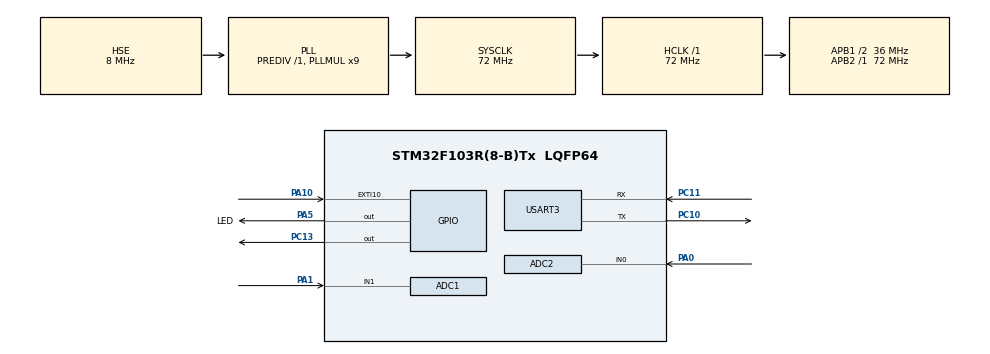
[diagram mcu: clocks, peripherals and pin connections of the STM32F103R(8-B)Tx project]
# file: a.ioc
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ADC1.Channel-1\#ChannelRegularConversion=ADC_CHANNEL_1
ADC1.NbrOfConversionFlag=1
ADC1.Rank-1\#ChannelRegularConversion=1
ADC1.SamplingTime-1\#ChannelRegularConversion=ADC_SAMPLETIME_1CYCLE_5
ADC1.master=1
ADC2.Channel-5\#ChannelRegularConversion=ADC_CHANNEL_0
ADC2.NbrOfConversionFlag=1
ADC2.Rank-5\#ChannelRegularConversion=1
ADC2.SamplingTime-5\#ChannelRegularConversion=ADC_SAMPLETIME_1CYCLE_5
Mcu.Family=STM32F1
Mcu.Name=STM32F103R(8-B)Tx
Mcu.Package=LQFP64
NVIC.EXTI15_10_IRQn=true\:0\:0\:false\:false\:true\:true\:true
NVIC.PriorityGroup=NVIC_PRIORITYGROUP_4
NVIC.RTC_Alarm_IRQn=true\:0\:0\:false\:false\:true\:true\:true
NVIC.USART3_IRQn=true\:0\:0\:false\:false\:true\:true\:true
PA0-WKUP.Signal=ADCx_IN0
PA1.Signal=ADCx_IN1
PA10.Signal=GPXTI10
PA13.Mode=Serial_Wire
PA13.Signal=SYS_JTMS-SWDIO
PA14.Mode=Serial_Wire
PA14.Signal=SYS_JTCK-SWCLK
PA5.GPIO_Label=LED
PA5.GPIO_ModeDefaultOutputPP=GPIO_MODE_OUTPUT_PP
PA5.GPIO_PuPd=GPIO_NOPULL
PA5.GPIO_Speed=GPIO_SPEED_FREQ_LOW
PA5.PinState=GPIO_PIN_RESET
PA5.Signal=GPIO_Output
PA5.Stacked=true
PC10.Mode=Asynchronous
PC10.Signal=USART3_TX
PC11.Mode=Asynchronous
PC11.Signal=USART3_RX
PC13-TAMPER-RTC.GPIO_ModeDefaultOutputPP=GPIO_MODE_OUTPUT_PP
PC13-TAMPER-RTC.GPIO_PuPd=GPIO_NOPULL
PC13-TAMPER-RTC.GPIO_Speed=GPIO_SPEED_FREQ_LOW
PC13-TAMPER-RTC.PinState=GPIO_PIN_RESET
PC13-TAMPER-RTC.Signal=GPIO_Output
PD0-OSC_IN.Mode=HSE-External-Oscillator
PD0-OSC_IN.Signal=RCC_OSC_IN
PD1-OSC_OUT.Mode=HSE-External-Oscillator
PD1-OSC_OUT.Signal=RCC_OSC_OUT
ProjectManager.HeapSize=0x200
ProjectManager.StackSize=0x400
ProjectManager.TargetToolchain=STM32CubeIDE
RCC.ADCPresc=RCC_ADCPCLK2_DIV6
RCC.AHBFreq_Value=72000000
RCC.APB1CLKDivider=RCC_HCLK_DIV2
RCC.APB1Freq_Value=36000000
RCC.APB1TimFreq_Value=72000000
RCC.APB2Freq_Value=72000000
RCC.APB2TimFreq_Value=72000000
RCC.HCLKFreq_Value=72000000
RCC.PLLMUL=RCC_PLL_MUL9
RCC.PLLSourceVirtual=RCC_PLLSOURCE_HSE
RCC.SYSCLKFreq_VALUE=72000000
RCC.SYSCLKSource=RCC_SYSCLKSOURCE_PLLCLK
RCC.USBFreq_Value=72000000
RTC.Date=16
RTC.Format=RTC_FORMAT_BCD
RTC.Hours=10
RTC.Minutes=20
RTC.Month=RTC_MONTH_NOVEMBER
RTC.Seconds=30
RTC.Year=20
SH.ADCx_IN0.0=ADC2_IN0,IN0
SH.ADCx_IN1.0=ADC1_IN1,IN1
TIM4.Period=0xffff-1
TIM4.Prescaler=50-1
USART3.VirtualMode=VM_ASYNC
VP_RTC_VS_RTC_Activate.Mode=RTC_Enabled
VP_RTC_VS_RTC_Calendar.Mode=RTC_Calendar
VP_TIM4_VS_ClockSourceITR.Mode=TriggerSource_ITR0
board=custom

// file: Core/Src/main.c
/* USER CODE BEGIN Header */
/**
  ******************************************************************************
  * @file           : main.c
  * @brief          : Main program body
  ******************************************************************************
  * @attention
  *
  * <h2><center>&copy; Copyright (c) 2020 STMicroelectronics.
  * All rights reserved.</center></h2>
  *
  * This software component is licensed by ST under BSD 3-Clause license,
  * the "License"; You may not use this file except in compliance with the
  * License. You may obtain a copy of the License at:
  *                        opensource.org/licenses/BSD-3-Clause
  *
  ******************************************************************************
  */
/* USER CODE END Header */
#include "main.h"

/* USER CODE BEGIN Includes */
//#include "ESP8266_HAL.h"
#include "ESP_DATA_HANDLER.h"
#include "stdint.h"
#include "stdio.h"

/* USER CODE END Includes */

ADC_HandleTypeDef hadc1;
ADC_HandleTypeDef hadc2;

RTC_HandleTypeDef hrtc;

TIM_HandleTypeDef htim4;

UART_HandleTypeDef huart3;

/* USER CODE BEGIN PV */
int check = 0;
int start = 0;
float temper;
char *temperatura[30];
float Lux = 0;
char time[10];
char date[10];
int Hours;
int Minutes;
int Seconds;
int Date;
int Month;
int Year;
int init_time=0;
extern int HoursAdd;
extern int MinutesAdd;
extern int SecondAdd;
extern int buzz;
extern uint8_t HoursAlarm;
extern uint8_t MinutesAlarm;
/* USER CODE END PV */

void SystemClock_Config(void);
static void MX_GPIO_Init(void);
static void MX_USART3_UART_Init(void);
static void MX_TIM4_Init(void);
static void MX_RTC_Init(void);
static void MX_ADC1_Init(void);
static void MX_ADC2_Init(void);

/* USER CODE BEGIN 0 */

void RTC_Alarm_Config(void)
{
	RTC_AlarmTypeDef rtcAlarmInit;

	/*## STEP 1: Configure RTC alarm #########################################*/
	/* Set Alarm to 00:00:05 */
	rtcAlarmInit.Alarm             = RTC_ALARM_A;
	rtcAlarmInit.AlarmTime.Hours   = HoursAlarm;
	rtcAlarmInit.AlarmTime.Minutes = MinutesAlarm;
	rtcAlarmInit.AlarmTime.Seconds = 0x00;
	HAL_RTC_SetAlarm_IT(&hrtc, &rtcAlarmInit, RTC_FORMAT_BIN);
}

void update_time(void)
{
	RTC_TimeTypeDef sTime = {0};
	sTime.Hours = HoursAdd;
	sTime.Minutes = MinutesAdd;
	sTime.Seconds = SecondAdd;
	HAL_RTC_SetTime(&hrtc, &sTime, RTC_FORMAT_BIN);
}

void get_time(void)
{
  RTC_DateTypeDef gDate;
  RTC_TimeTypeDef gTime;

  /* Get the RTC current Time */
  HAL_RTC_GetTime(&hrtc, &gTime, RTC_FORMAT_BIN);
  /* Get the RTC current Date */
  HAL_RTC_GetDate(&hrtc, &gDate, RTC_FORMAT_BIN);

  /* Display time Format: hh:mm:ss */
  sprintf((char*)time,"%02d:%02d:%02d",gTime.Hours, gTime.Minutes, gTime.Seconds);
  Hours = gTime.Hours;
  Minutes = gTime.Minutes;
  Seconds = gTime.Seconds;
  /* Display date Format: mm-dd-yy */
  sprintf((char*)date,"%02d-%02d-%2d",gDate.Date, gDate.Month, 2000 + gDate.Year);  // I like the date first
  Date = gDate.Date;
  Month = gDate.Month;
  Year = 2000 + gDate.Year;

  if(buzz==1)
  {
		 RTC_Alarm_Config();
		 buzz=0;
  }

}

uint16_t ADC_Get_Value (void)
{
	uint16_t val = 0;
	HAL_ADC_Start(&hadc2);
	HAL_ADC_PollForConversion(&hadc2, 100);
	val = HAL_ADC_GetValue(&hadc2);
	HAL_ADC_Stop(&hadc2);
	return val;
}

float Voltage = 0;
uint16_t ADC_Value = 0;
uint8_t count = 0;

uint16_t Value_Buf [4];
void delay (uint16_t time)
{
	/* change your code here for the delay in microseconds */
	__HAL_TIM_SET_COUNTER(&htim4, 0);
	while ((__HAL_TIM_GET_COUNTER(&htim4))<time);
}

uint8_t Rh_byte1, Rh_byte2, Temp_byte1, Temp_byte2;
uint16_t SUM, RH, TEMP;

float Temperature = 0;
float Humidity = 0;
uint8_t Presence = 0;

void Set_Pin_Output (GPIO_TypeDef *GPIOx, uint16_t GPIO_Pin)
{
	GPIO_InitTypeDef GPIO_InitStruct = {0};
	GPIO_InitStruct.Pin = GPIO_Pin;
	GPIO_InitStruct.Mode = GPIO_MODE_OUTPUT_PP;
	GPIO_InitStruct.Speed = GPIO_SPEED_FREQ_LOW;
	HAL_GPIO_Init(GPIOx, &GPIO_InitStruct);
}

void Set_Pin_Input (GPIO_TypeDef *GPIOx, uint16_t GPIO_Pin)
{
	GPIO_InitTypeDef GPIO_InitStruct = {0};
	GPIO_InitStruct.Pin = GPIO_Pin;
	GPIO_InitStruct.Mode = GPIO_MODE_INPUT;
	GPIO_InitStruct.Pull = GPIO_PULLUP;
	HAL_GPIO_Init(GPIOx, &GPIO_InitStruct);
}

#define DS18B20_PORT GPIOA
#define DS18B20_PIN GPIO_PIN_1

uint8_t DS18B20_Start (void)
{
	uint8_t Response = 0;
	Set_Pin_Output(DS18B20_PORT, DS18B20_PIN);   // set the pin as output
	HAL_GPIO_WritePin (DS18B20_PORT, DS18B20_PIN, 0);  // pull the pin low
	delay (480);   // delay according to datasheet

	Set_Pin_Input(DS18B20_PORT, DS18B20_PIN);    // set the pin as input
	delay (80);    // delay according to datasheet

	if (!(HAL_GPIO_ReadPin (DS18B20_PORT, DS18B20_PIN))) Response = 1;    // if the pin is low i.e the presence pulse is detected
	else Response = -1;

	delay (400); // 480 us delay totally.

	return Response;
}

void DS18B20_Write (uint8_t data)
{
	Set_Pin_Output(DS18B20_PORT, DS18B20_PIN);  // set as output

	for (int i=0; i<8; i++)
	{

		if ((data & (1<<i))!=0)  // if the bit is high
		{
			// write 1

			Set_Pin_Output(DS18B20_PORT, DS18B20_PIN);  // set as output
			HAL_GPIO_WritePin (DS18B20_PORT, DS18B20_PIN, 0);  // pull the pin LOW
			delay (1);  // wait for 1 us

			Set_Pin_Input(DS18B20_PORT, DS18B20_PIN);  // set as input
			delay (50);  // wait for 60 us
		}

		else  // if the bit is low
		{
			// write 0

			Set_Pin_Output(DS18B20_PORT, DS18B20_PIN);
			HAL_GPIO_WritePin (DS18B20_PORT, DS18B20_PIN, 0);  // pull the pin LOW
			delay (50);  // wait for 60 us

			Set_Pin_Input(DS18B20_PORT, DS18B20_PIN);
		}
	}
}

uint8_t DS18B20_Read (void)
{
	uint8_t value=0;

	Set_Pin_Input(DS18B20_PORT, DS18B20_PIN);

	for (int i=0;i<8;i++)
	{
		Set_Pin_Output(DS18B20_PORT, DS18B20_PIN);   // set as output

		HAL_GPIO_WritePin (DS18B20_PORT, DS18B20_PIN, 0);  // pull the data pin LOW
		delay (1);  // wait for > 1us

		Set_Pin_Input(DS18B20_PORT, DS18B20_PIN);  // set as input
		if (HAL_GPIO_ReadPin (DS18B20_PORT, DS18B20_PIN))  // if the pin is HIGH
		{
			value |= 1<<i;  // read = 1
		}
		delay (50);  // wait for 60 us
	}
	return value;
}
/* USER CODE END 0 */

int main(void)
{

  /* MCU Configuration--------------------------------------------------------*/

  /* Reset of all peripherals, Initializes the Flash interface and the Systick. */
  HAL_Init();

  /* Configure the system clock */
  SystemClock_Config();

  /* Initialize all configured peripherals */
  MX_GPIO_Init();
  MX_USART3_UART_Init();
  MX_TIM4_Init();
  MX_RTC_Init();
  MX_ADC1_Init();
  MX_ADC2_Init();
  /* USER CODE BEGIN 2 */

  HAL_TIM_Base_Start(&htim4);
  ESP_Init("Redmi","a1234567","192.168.43.84");
  /* USER CODE END 2 */

  /* Infinite loop */
  while (1)
  {

    /* USER CODE BEGIN 3 */

	  if(init_time==1)
	  {

		  update_time();
		  init_time=0;
	  }

	  	  get_time();
	  	  HAL_Delay(500);

	  Presence = DS18B20_Start ();
	  	  HAL_Delay (1);
	  	  DS18B20_Write (0xCC);  // skip ROM
	  	  DS18B20_Write (0x44);  // convert t
	  	  HAL_Delay (800);

	  	  Presence = DS18B20_Start ();
	        HAL_Delay(1);
	        DS18B20_Write (0xCC);  // skip ROM
	        DS18B20_Write (0xBE);  // Read Scratch-pad

	        Temp_byte1 = DS18B20_Read();
	  	  Temp_byte2 = DS18B20_Read();
	  	  TEMP = (Temp_byte2<<8)|Temp_byte1;
	  	  Temperature = (float)TEMP/16;
	  	  temper = Temperature;
	  	  HAL_Delay(1000);

		  ADC_Value = ADC_Get_Value();
		  Lux = ((float) ADC_Value * 5.0 / 1023) * 200;

	  	  while (start=0)
	  	  {
	  	  if(HAL_GPIO_ReadPin(GPIOA, GPIO_PIN_5) == GPIO_PIN_SET) {check = 1;}
	  	  else {check = 0;}
	  	  start = 1;
	  	  }

	  	  //if ( buzz != 0) alarm();

		  Server_Start();

	  	  //Server_Start();
  }
  /* USER CODE END 3 */
}

void SystemClock_Config(void)
{
  RCC_OscInitTypeDef RCC_OscInitStruct = {0};
  RCC_ClkInitTypeDef RCC_ClkInitStruct = {0};
  RCC_PeriphCLKInitTypeDef PeriphClkInit = {0};

  /** Initializes the RCC Oscillators according to the specified parameters
  * in the RCC_OscInitTypeDef structure.
  */
  RCC_OscInitStruct.OscillatorType = RCC_OSCILLATORTYPE_LSI|RCC_OSCILLATORTYPE_HSE;
  RCC_OscInitStruct.HSEState = RCC_HSE_ON;
  RCC_OscInitStruct.HSEPredivValue = RCC_HSE_PREDIV_DIV1;
  RCC_OscInitStruct.HSIState = RCC_HSI_ON;
  RCC_OscInitStruct.LSIState = RCC_LSI_ON;
  RCC_OscInitStruct.PLL.PLLState = RCC_PLL_ON;
  RCC_OscInitStruct.PLL.PLLSource = RCC_PLLSOURCE_HSE;
  RCC_OscInitStruct.PLL.PLLMUL = RCC_PLL_MUL9;
  if (HAL_RCC_OscConfig(&RCC_OscInitStruct) != HAL_OK)
  {
    Error_Handler();
  }
  /** Initializes the CPU, AHB and APB buses clocks
  */
  RCC_ClkInitStruct.ClockType = RCC_CLOCKTYPE_HCLK|RCC_CLOCKTYPE_SYSCLK
                              |RCC_CLOCKTYPE_PCLK1|RCC_CLOCKTYPE_PCLK2;
  RCC_ClkInitStruct.SYSCLKSource = RCC_SYSCLKSOURCE_PLLCLK;
  RCC_ClkInitStruct.AHBCLKDivider = RCC_SYSCLK_DIV1;
  RCC_ClkInitStruct.APB1CLKDivider = RCC_HCLK_DIV2;
  RCC_ClkInitStruct.APB2CLKDivider = RCC_HCLK_DIV1;

  if (HAL_RCC_ClockConfig(&RCC_ClkInitStruct, FLASH_LATENCY_2) != HAL_OK)
  {
    Error_Handler();
  }
  PeriphClkInit.PeriphClockSelection = RCC_PERIPHCLK_RTC|RCC_PERIPHCLK_ADC;
  PeriphClkInit.RTCClockSelection = RCC_RTCCLKSOURCE_LSI;
  PeriphClkInit.AdcClockSelection = RCC_ADCPCLK2_DIV6;
  if (HAL_RCCEx_PeriphCLKConfig(&PeriphClkInit) != HAL_OK)
  {
    Error_Handler();
  }
}

static void MX_ADC1_Init(void)
{

  ADC_ChannelConfTypeDef sConfig = {0};

  /** Common config
  */
  hadc1.Instance = ADC1;
  hadc1.Init.ScanConvMode = ADC_SCAN_DISABLE;
  hadc1.Init.ContinuousConvMode = DISABLE;
  hadc1.Init.DiscontinuousConvMode = DISABLE;
  hadc1.Init.ExternalTrigConv = ADC_SOFTWARE_START;
  hadc1.Init.DataAlign = ADC_DATAALIGN_RIGHT;
  hadc1.Init.NbrOfConversion = 1;
  if (HAL_ADC_Init(&hadc1) != HAL_OK)
  {
    Error_Handler();
  }
  /** Configure Regular Channel
  */
  sConfig.Channel = ADC_CHANNEL_1;
  sConfig.Rank = ADC_REGULAR_RANK_1;
  sConfig.SamplingTime = ADC_SAMPLETIME_1CYCLE_5;
  if (HAL_ADC_ConfigChannel(&hadc1, &sConfig) != HAL_OK)
  {
    Error_Handler();
  }

}

static void MX_ADC2_Init(void)
{

  ADC_ChannelConfTypeDef sConfig = {0};

  /** Common config
  */
  hadc2.Instance = ADC2;
  hadc2.Init.ScanConvMode = ADC_SCAN_DISABLE;
  hadc2.Init.ContinuousConvMode = DISABLE;
  hadc2.Init.DiscontinuousConvMode = DISABLE;
  hadc2.Init.ExternalTrigConv = ADC_SOFTWARE_START;
  hadc2.Init.DataAlign = ADC_DATAALIGN_RIGHT;
  hadc2.Init.NbrOfConversion = 1;
  if (HAL_ADC_Init(&hadc2) != HAL_OK)
  {
    Error_Handler();
  }
  /** Configure Regular Channel
  */
  sConfig.Channel = ADC_CHANNEL_0;
  sConfig.Rank = ADC_REGULAR_RANK_1;
  sConfig.SamplingTime = ADC_SAMPLETIME_1CYCLE_5;
  if (HAL_ADC_ConfigChannel(&hadc2, &sConfig) != HAL_OK)
  {
    Error_Handler();
  }

}

static void MX_RTC_Init(void)
{

  RTC_TimeTypeDef sTime = {0};
  RTC_DateTypeDef DateToUpdate = {0};

  /** Initialize RTC Only
  */
  hrtc.Instance = RTC;
  hrtc.Init.AsynchPrediv = RTC_AUTO_1_SECOND;
  hrtc.Init.OutPut = RTC_OUTPUTSOURCE_ALARM;
  if (HAL_RTC_Init(&hrtc) != HAL_OK)
  {
    Error_Handler();
  }

  /** Initialize RTC and set the Time and Date
  */
  sTime.Hours = 0x10;
  sTime.Minutes = 0x20;
  sTime.Seconds = 0x30;

  if (HAL_RTC_SetTime(&hrtc, &sTime, RTC_FORMAT_BCD) != HAL_OK)
  {
    Error_Handler();
  }
  DateToUpdate.WeekDay = RTC_WEEKDAY_MONDAY;
  DateToUpdate.Month = RTC_MONTH_NOVEMBER;
  DateToUpdate.Date = 0x16;
  DateToUpdate.Year = 0x20;

  if (HAL_RTC_SetDate(&hrtc, &DateToUpdate, RTC_FORMAT_BCD) != HAL_OK)
  {
    Error_Handler();
  }

}

static void MX_TIM4_Init(void)
{

  TIM_SlaveConfigTypeDef sSlaveConfig = {0};
  TIM_MasterConfigTypeDef sMasterConfig = {0};

  htim4.Instance = TIM4;
  htim4.Init.Prescaler = 50-1;
  htim4.Init.CounterMode = TIM_COUNTERMODE_UP;
  htim4.Init.Period = 0xffff-1;
  htim4.Init.ClockDivision = TIM_CLOCKDIVISION_DIV1;
  htim4.Init.AutoReloadPreload = TIM_AUTORELOAD_PRELOAD_DISABLE;
  if (HAL_TIM_Base_Init(&htim4) != HAL_OK)
  {
    Error_Handler();
  }
  sSlaveConfig.SlaveMode = TIM_SLAVEMODE_DISABLE;
  sSlaveConfig.InputTrigger = TIM_TS_ITR0;
  if (HAL_TIM_SlaveConfigSynchro(&htim4, &sSlaveConfig) != HAL_OK)
  {
    Error_Handler();
  }
  sMasterConfig.MasterOutputTrigger = TIM_TRGO_RESET;
  sMasterConfig.MasterSlaveMode = TIM_MASTERSLAVEMODE_DISABLE;
  if (HAL_TIMEx_MasterConfigSynchronization(&htim4, &sMasterConfig) != HAL_OK)
  {
    Error_Handler();
  }

}

static void MX_USART3_UART_Init(void)
{

  huart3.Instance = USART3;
  huart3.Init.BaudRate = 115200;
  huart3.Init.WordLength = UART_WORDLENGTH_8B;
  huart3.Init.StopBits = UART_STOPBITS_1;
  huart3.Init.Parity = UART_PARITY_NONE;
  huart3.Init.Mode = UART_MODE_TX_RX;
  huart3.Init.HwFlowCtl = UART_HWCONTROL_NONE;
  huart3.Init.OverSampling = UART_OVERSAMPLING_16;
  if (HAL_UART_Init(&huart3) != HAL_OK)
  {
    Error_Handler();
  }

}

static void MX_GPIO_Init(void)
{
  GPIO_InitTypeDef GPIO_InitStruct = {0};

  /* GPIO Ports Clock Enable */
  __HAL_RCC_GPIOC_CLK_ENABLE();
  __HAL_RCC_GPIOD_CLK_ENABLE();
  __HAL_RCC_GPIOA_CLK_ENABLE();

  /*Configure GPIO pin Output Level */
  HAL_GPIO_WritePin(GPIOC, GPIO_PIN_13, GPIO_PIN_RESET);

  /*Configure GPIO pin Output Level */
  HAL_GPIO_WritePin(LED_GPIO_Port, LED_Pin, GPIO_PIN_RESET);

  /*Configure GPIO pin : PC13 */
  GPIO_InitStruct.Pin = GPIO_PIN_13;
  GPIO_InitStruct.Mode = GPIO_MODE_OUTPUT_PP;
  GPIO_InitStruct.Pull = GPIO_NOPULL;
  GPIO_InitStruct.Speed = GPIO_SPEED_FREQ_LOW;
  HAL_GPIO_Init(GPIOC, &GPIO_InitStruct);

  /*Configure GPIO pin : LED_Pin */
  GPIO_InitStruct.Pin = LED_Pin;
  GPIO_InitStruct.Mode = GPIO_MODE_OUTPUT_PP;
  GPIO_InitStruct.Pull = GPIO_NOPULL;
  GPIO_InitStruct.Speed = GPIO_SPEED_FREQ_LOW;
  HAL_GPIO_Init(LED_GPIO_Port, &GPIO_InitStruct);

  /*Configure GPIO pin : PA10 */
  GPIO_InitStruct.Pin = GPIO_PIN_10;
  GPIO_InitStruct.Mode = GPIO_MODE_IT_RISING;
  GPIO_InitStruct.Pull = GPIO_NOPULL;
  HAL_GPIO_Init(GPIOA, &GPIO_InitStruct);

  /* EXTI interrupt init*/
  HAL_NVIC_SetPriority(EXTI15_10_IRQn, 0, 0);
  HAL_NVIC_EnableIRQ(EXTI15_10_IRQn);

}

void Error_Handler(void)
{
}

/************************ (C) COPYRIGHT STMicroelectronics *****END OF FILE****/
